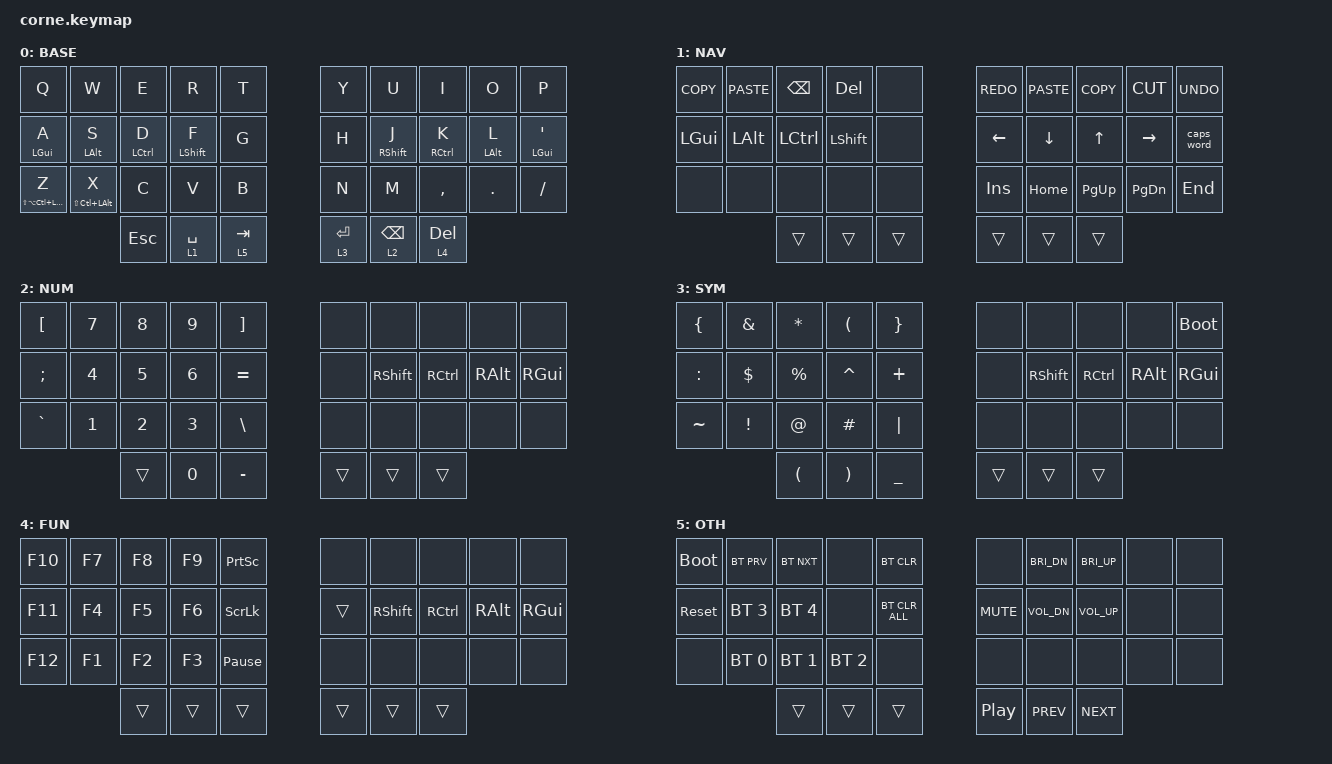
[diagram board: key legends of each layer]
/*
 * Copyright (c) 2020 The ZMK Contributors
 *
 * SPDX-License-Identifier: MIT
 */

#include <behaviors.dtsi>
#include <dt-bindings/zmk/bt.h>
#include <dt-bindings/zmk/keys.h>

&caps_word { continue-list = <UNDERSCORE BACKSPACE DELETE MINUS>; };

&lt {
    quick-tap-ms = <200>;
    tapping-term-ms = <210>;
};

/ {
    chosen { zmk,matrix_transform = &five_column_transform; };

    behaviors {
        hml: hml {
            compatible = "zmk,behavior-hold-tap";
            label = "HML";
            bindings = <&kp>, <&kp>;

            #binding-cells = <2>;
            quick-tap-ms = <175>;
            flavor = "balanced";
            tapping-term-ms = <280>;
            require-prior-idle-ms = <125>;
            hold-trigger-on-release;
            hold-trigger-key-positions = <5 6 7 8 9 15 16 18 19 25 26 27 28 29 33 34 35 17>;
        };

        hmr: hmr {
            compatible = "zmk,behavior-hold-tap";
            label = "HMR";
            bindings = <&kp>, <&kp>;

            #binding-cells = <2>;
            quick-tap-ms = <175>;
            flavor = "balanced";
            tapping-term-ms = <280>;
            require-prior-idle-ms = <125>;
            hold-trigger-on-release;
            hold-trigger-key-positions = <0 1 2 3 4 10 11 12 13 14 20 21 22 23 24 30 31 32>;
        };
    };

    combos { compatible = "zmk,combos"; };

    keymap {
        compatible = "zmk,keymap";

        base_layer {
            // -----------------------------------------------------------------------------------------
            // |  TAB |  Q  |  W  |  E  |  R  |  T  |   |  Y  |  U   |  I  |  O  |  P  | BKSP |
            // | CTRL |  A  |  S  |  D  |  F  |  G  |   |  H  |  J   |  K  |  L  |  ;  |  '   |
            // | SHFT |  Z  |  X  |  C  |  V  |  B  |   |  N  |  M   |  ,  |  .  |  /  | ESC  |
            //                    | GUI | LWR | SPC |   | ENT | RSE  | ALT |

            bindings = <
  &kp Q                   &kp W               &kp E         &kp R          &kp T        &kp Y        &kp U            &kp I         &kp O        &kp P
  &hml LGUI A             &hml LALT S         &hml LCTRL D  &hml LSHIFT F  &kp G        &kp H        &hmr RSHIFT J    &hmr RCTRL K  &hmr LALT L  &hmr LGUI SQT
  &mt LS(LA(LC(LGUI))) Z  &mt LS(LC(LALT)) X  &kp C         &kp V          &kp B        &kp N        &kp M            &kp COMMA     &kp DOT      &kp SLASH
                                              &kp ESCAPE    &lt 1 SPACE    &lt 5 TAB    &lt 3 ENTER  &lt 2 BACKSPACE  &lt 4 DEL
            >;

            label = "BASE";
            display-name = "BASE";
        };

        navigation_layer {
            // -----------------------------------------------------------------------------------------
            // |  TAB |  1  |  2  |  3  |  4  |  5  |   |  6  |  7  |  8  |  9  |  0  | BKSP |
            // | BTCLR| BT1 | BT2 | BT3 | BT4 | BT5 |   | LFT | DWN |  UP | RGT |     |      |
            // | SHFT |     |     |     |     |     |   |     |     |     |     |     |      |
            //                    | GUI |     | SPC |   | ENT |     | ALT |

            bindings = <
  &kp K_COPY  &kp K_PASTE  &kp BACKSPACE  &kp DEL    &none     &kp K_REDO  &kp K_PASTE  &kp K_COPY  &kp K_CUT  &kp K_UNDO
  &kp LGUI    &kp LALT     &kp LCTRL      &kp LSHFT  &none     &kp LEFT    &kp DOWN     &kp UP      &kp RIGHT  &caps_word
  &none       &none        &none          &none      &none     &kp INS     &kp HOME     &kp PG_UP   &kp PG_DN  &kp END
                           &trans         &trans     &trans    &trans      &trans       &trans
            >;

            label = "NAV";
            display-name = "NAV";
        };

        number_layer {
            // -----------------------------------------------------------------------------------------
            // |  TAB |  !  |  @  |  #  |  $  |  %  |   |  ^  |  &  |  *  |  (  |  )  | BKSP |
            // | CTRL |     |     |     |     |     |   |  -  |  =  |  [  |  ]  |  \  |  `   |
            // | SHFT |     |     |     |     |     |   |  _  |  +  |  {  |  }  | "|" |  ~   |
            //                    | GUI |     | SPC |   | ENT |     | ALT |

            bindings = <
  &kp LEFT_BRACKET  &kp N7  &kp N8  &kp N9  &kp RIGHT_BRACKET    &none   &none      &none      &none     &none
  &kp SEMI          &kp N4  &kp N5  &kp N6  &kp EQUAL            &none   &kp RSHFT  &kp RCTRL  &kp RALT  &kp RGUI
  &kp GRAVE         &kp N1  &kp N2  &kp N3  &kp BACKSLASH        &none   &none      &none      &none     &none
                            &trans  &kp N0  &kp MINUS            &trans  &trans     &trans
            >;

            label = "NUM";
            display-name = "NUM";
        };

        symbol_layer {
            label = "SYM";
            display-name = "SYM";
            bindings = <
  &kp LEFT_BRACE  &kp AMPS  &kp ASTRK             &kp LPAR               &kp RIGHT_BRACE    &none   &none      &none      &none     &bootloader
  &kp COLON       &kp DLLR  &kp PRCNT             &kp CARET              &kp PLUS           &none   &kp RSHFT  &kp RCTRL  &kp RALT  &kp RGUI
  &kp TILDE       &kp EXCL  &kp AT                &kp HASH               &kp PIPE           &none   &none      &none      &none     &none
                            &kp LEFT_PARENTHESIS  &kp RIGHT_PARENTHESIS  &kp UNDER          &trans  &trans     &trans
            >;
        };

        function_layer {
            label = "FUN";
            display-name = "FUN";
            bindings = <
  &kp F10  &kp F7  &kp F8  &kp F9  &kp PSCRN          &none   &none      &none      &none     &none
  &kp F11  &kp F4  &kp F5  &kp F6  &kp SCROLLLOCK     &trans  &kp RSHFT  &kp RCTRL  &kp RALT  &kp RGUI
  &kp F12  &kp F1  &kp F2  &kp F3  &kp PAUSE_BREAK    &none   &none      &none      &none     &none
                   &trans  &trans  &trans             &trans  &trans     &trans
            >;
        };

        other_layer {
            bindings = <
  &bootloader  &bt BT_PRV    &bt BT_NXT    &none         &bt BT_CLR        &none       &kp C_BRI_DN  &kp C_BRI_UP  &none  &none
  &sys_reset   &bt BT_SEL 3  &bt BT_SEL 4  &none         &bt BT_CLR_ALL    &kp C_MUTE  &kp C_VOL_DN  &kp C_VOL_UP  &none  &none
  &none        &bt BT_SEL 0  &bt BT_SEL 1  &bt BT_SEL 2  &none             &none       &none         &none         &none  &none
                             &trans        &trans        &trans            &kp C_PP    &kp C_PREV    &kp C_NEXT
            >;

            label = "OTH";
            display-name = "OTH";
        };
    };
};
